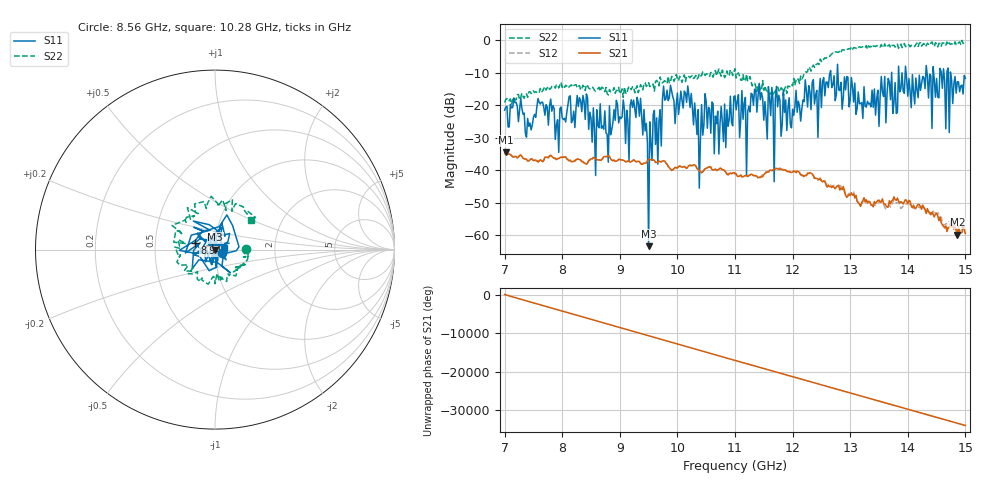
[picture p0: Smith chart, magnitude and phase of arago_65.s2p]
! 4/11/2025 3:36:06 PM
! C:\ANRITSUVNA\LELEC2350\LAB1_2025\GROUP1_65.S2P
! CHANNEL.1
! TR.MEASUREMENT
! CORRECTED.DATA
! RF.CORRECTION: FULL.TWO.PORT.CAL.PORT.1.2
! AVERAGING.OFF
! IF.BANDWIDTH: 300HZ
! SWEEPTYPE:  FREQ.SWEEP(Linear)
! Reference Plane Port Info
! PORT:  PORT1  PORT2
! DISTANCE:  0  m  0  m
! TIME:  0  s  0  s
! PHASE.OFFSET:  0 °  0 °
! LOSS:  0  dB  0  dB
! REF.LOSS:  0  dB  0  dB
! REF.FREQ:  0  Hz  0  Hz
! Power Info
! POWER:  5  dBm  5  dBm
! EFF.POWER:  5  dBm  5  dBm
# GHZ S RI R 50.0
! FREQ.GHZ  S11RE  S11IM  S21RE  S21IM  S12RE  S12IM  S22RE  S22IM
!; PortSelection: Port_12
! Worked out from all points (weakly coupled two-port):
!   401 points, 7 GHz to 15 GHz, reference 50 ohm
!   highest |S21| = -34.47 dB at 7.02 GHz (marker M1); lowest = -59.9 dB at 14.86 GHz (marker M2)
!   lowest |S11| = -63.4 dB at 9.5 GHz (marker M3), VSWR 1.00, Z = 50.1 + j0.0239 ohm
!   |S11| at or under -10 dB: start of sweep to 12.65 GHz; 12.79 GHz to 13.72 GHz (932.8 MHz wide, 7.04 % of centre); 13.97 GHz to 14.31 GHz (342.9 MHz wide, 2.42 % of centre) (the widest 3 of 13)
!   |S22| runs from -19.6 to 0.0 dB; largest |S21 - S12| = 0.00078
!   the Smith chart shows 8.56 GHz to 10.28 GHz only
!   S11 on the Smith chart (normalised r, x): 8.56 GHz: 1.08, -0.05; 8.94 GHz: 0.79, +0.06; 10.28 GHz: 1.10, +0.02
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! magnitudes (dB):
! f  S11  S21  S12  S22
! 7 GHz  -21.5  -34.8  -34.8  -19.2
! 7.02 GHz  -20.6  -34.5  -34.4  -18.2
! 7.62 GHz  -19.6  -36.8  -36.8  -14.8
! 7.92 GHz  -24.4  -36.4  -36.5  -13.7
! 8.34 GHz  -22.0  -37.4  -37.2  -14.8
! 8.56 GHz  -27.3  -36.2  -36.1  -15.4
! 8.94 GHz  -18.4  -37.2  -37.3  -15.4
! 9.34 GHz  -23.3  -37.4  -37.3  -15.0
! 9.5 GHz  -63.4  -36.6  -36.6  -13.0
! 9.68 GHz  -24.8  -37.2  -37.2  -14.0
! 9.78 GHz  -18.4  -37.2  -37.2  -12.4
! 10.28 GHz  -26.0  -38.4  -38.4  -11.7
! 10.42 GHz  -19.8  -40.8  -40.7  -10.8
! 10.52 GHz  -27.1  -39.3  -39.2  -10.4
! 10.68 GHz  -25.6  -40.1  -40.1  -10.9
! 11 GHz  -17.1  -40.9  -41.2  -8.7
! 11.62 GHz  -23.2  -40.0  -40.0  -16.5
! 11.94 GHz  -17.6  -40.4  -40.5  -14.2
! 12.34 GHz  -13.0  -41.2  -41.1  -8.3
! 13.68 GHz  -12.8  -49.4  -50.8  -1.3
! 14.86 GHz  -12.7  -59.9  -58.5  -0.6
! 15 GHz  -11.7  -59.5  -58.1  -0.8
